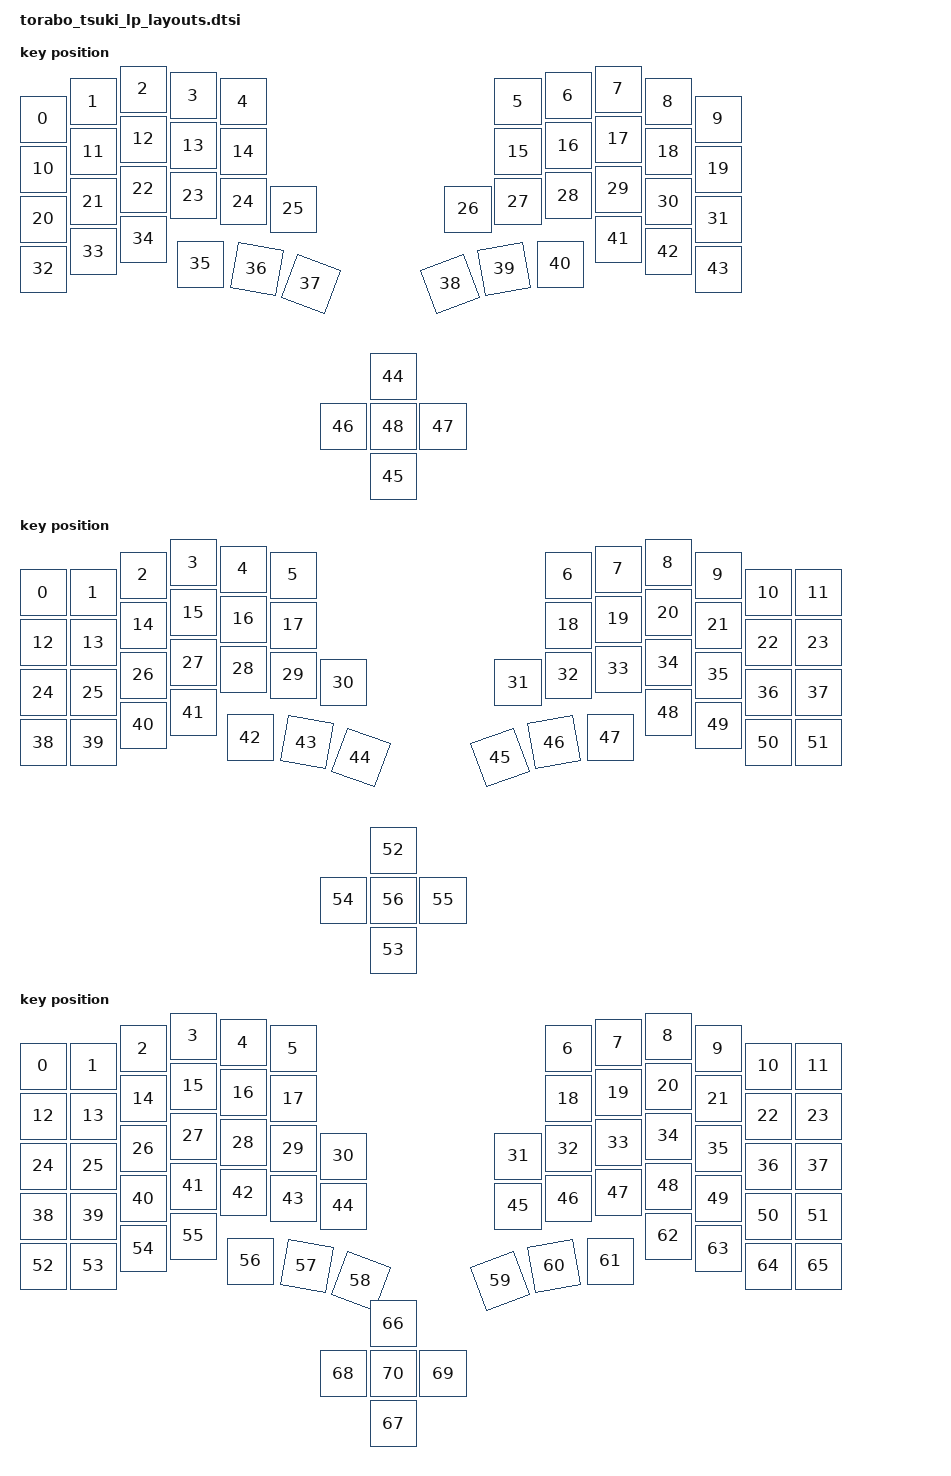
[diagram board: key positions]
#include <physical_layouts.dtsi>

/ {
    physical_layout_s: physical_layout_0 {
        keys  //                     w   h    x    y     rot    rx    ry
            = <&key_physical_attrs 100 100    0   60       0     0     0>
            , <&key_physical_attrs 100 100  100   25       0     0     0>
            , <&key_physical_attrs 100 100  200    0       0     0     0>
            , <&key_physical_attrs 100 100  300   13       0     0     0>
            , <&key_physical_attrs 100 100  400   25       0     0     0>
            , <&key_physical_attrs 100 100  950   25       0     0     0>
            , <&key_physical_attrs 100 100 1050   13       0     0     0>
            , <&key_physical_attrs 100 100 1150    0       0     0     0>
            , <&key_physical_attrs 100 100 1250   25       0     0     0>
            , <&key_physical_attrs 100 100 1350   60       0     0     0>
            , <&key_physical_attrs 100 100    0  160       0     0     0>
            , <&key_physical_attrs 100 100  100  125       0     0     0>
            , <&key_physical_attrs 100 100  200  100       0     0     0>
            , <&key_physical_attrs 100 100  300  113       0     0     0>
            , <&key_physical_attrs 100 100  400  125       0     0     0>
            , <&key_physical_attrs 100 100  950  125       0     0     0>
            , <&key_physical_attrs 100 100 1050  113       0     0     0>
            , <&key_physical_attrs 100 100 1150  100       0     0     0>
            , <&key_physical_attrs 100 100 1250  125       0     0     0>
            , <&key_physical_attrs 100 100 1350  160       0     0     0>
            , <&key_physical_attrs 100 100    0  260       0     0     0>
            , <&key_physical_attrs 100 100  100  225       0     0     0>
            , <&key_physical_attrs 100 100  200  200       0     0     0>
            , <&key_physical_attrs 100 100  300  213       0     0     0>
            , <&key_physical_attrs 100 100  400  225       0     0     0>
            , <&key_physical_attrs 100 100  500  240       0     0     0>
            , <&key_physical_attrs 100 100  850  240       0     0     0>
            , <&key_physical_attrs 100 100  950  225       0     0     0>
            , <&key_physical_attrs 100 100 1050  213       0     0     0>
            , <&key_physical_attrs 100 100 1150  200       0     0     0>
            , <&key_physical_attrs 100 100 1250  225       0     0     0>
            , <&key_physical_attrs 100 100 1350  260       0     0     0>
            , <&key_physical_attrs 100 100    0  360       0     0     0>
            , <&key_physical_attrs 100 100  100  325       0     0     0>
            , <&key_physical_attrs 100 100  200  300       0     0     0>
            , <&key_physical_attrs 100 100  315  350       0     0     0>
            , <&key_physical_attrs 100 100  420  350    1000   420   450>
            , <&key_physical_attrs 100 100  522  371    2000   525   470>
            , <&key_physical_attrs 100 100  828  371 (-2000)   925   470>
            , <&key_physical_attrs 100 100  930  350 (-1000)  1030   450>
            , <&key_physical_attrs 100 100 1035  350       0     0     0>
            , <&key_physical_attrs 100 100 1150  300       0     0     0>
            , <&key_physical_attrs 100 100 1250  325       0     0     0>
            , <&key_physical_attrs 100 100 1350  360       0     0     0>
#if defined(TORABO_TSUKI_LP_KSCAN_4_DIRECTION_SWITCH)
            , <&key_physical_attrs 100 100  700  575       0     0     0>
            , <&key_physical_attrs 100 100  700  775       0     0     0>
            , <&key_physical_attrs 100 100  600  675       0     0     0>
            , <&key_physical_attrs 100 100  800  675       0     0     0>
            , <&key_physical_attrs 100 100  700  675       0     0     0>
#elif defined(TORABO_TSUKI_LP_INPUT_HIRES_DIAL)
            , <&key_physical_attrs 100 100  700  675       0     0     0>
#endif
            ;
    };

    physical_layout_m: physical_layout_1 {
        keys  //                     w   h    x    y     rot    rx    ry
            = <&key_physical_attrs 100 100    0   60       0     0     0>
            , <&key_physical_attrs 100 100  100   60       0     0     0>
            , <&key_physical_attrs 100 100  200   25       0     0     0>
            , <&key_physical_attrs 100 100  300    0       0     0     0>
            , <&key_physical_attrs 100 100  400   13       0     0     0>
            , <&key_physical_attrs 100 100  500   25       0     0     0>
            , <&key_physical_attrs 100 100 1050   25       0     0     0>
            , <&key_physical_attrs 100 100 1150   13       0     0     0>
            , <&key_physical_attrs 100 100 1250    0       0     0     0>
            , <&key_physical_attrs 100 100 1350   25       0     0     0>
            , <&key_physical_attrs 100 100 1450   60       0     0     0>
            , <&key_physical_attrs 100 100 1550   60       0     0     0>
            , <&key_physical_attrs 100 100    0  160       0     0     0>
            , <&key_physical_attrs 100 100  100  160       0     0     0>
            , <&key_physical_attrs 100 100  200  125       0     0     0>
            , <&key_physical_attrs 100 100  300  100       0     0     0>
            , <&key_physical_attrs 100 100  400  113       0     0     0>
            , <&key_physical_attrs 100 100  500  125       0     0     0>
            , <&key_physical_attrs 100 100 1050  125       0     0     0>
            , <&key_physical_attrs 100 100 1150  113       0     0     0>
            , <&key_physical_attrs 100 100 1250  100       0     0     0>
            , <&key_physical_attrs 100 100 1350  125       0     0     0>
            , <&key_physical_attrs 100 100 1450  160       0     0     0>
            , <&key_physical_attrs 100 100 1550  160       0     0     0>
            , <&key_physical_attrs 100 100    0  260       0     0     0>
            , <&key_physical_attrs 100 100  100  260       0     0     0>
            , <&key_physical_attrs 100 100  200  225       0     0     0>
            , <&key_physical_attrs 100 100  300  200       0     0     0>
            , <&key_physical_attrs 100 100  400  213       0     0     0>
            , <&key_physical_attrs 100 100  500  225       0     0     0>
            , <&key_physical_attrs 100 100  600  240       0     0     0>
            , <&key_physical_attrs 100 100  950  240       0     0     0>
            , <&key_physical_attrs 100 100 1050  225       0     0     0>
            , <&key_physical_attrs 100 100 1150  213       0     0     0>
            , <&key_physical_attrs 100 100 1250  200       0     0     0>
            , <&key_physical_attrs 100 100 1350  225       0     0     0>
            , <&key_physical_attrs 100 100 1450  260       0     0     0>
            , <&key_physical_attrs 100 100 1550  260       0     0     0>
            , <&key_physical_attrs 100 100    0  360       0     0     0>
            , <&key_physical_attrs 100 100  100  360       0     0     0>
            , <&key_physical_attrs 100 100  200  325       0     0     0>
            , <&key_physical_attrs 100 100  300  300       0     0     0>
            , <&key_physical_attrs 100 100  415  350       0     0     0>
            , <&key_physical_attrs 100 100  520  350    1000   520   450>
            , <&key_physical_attrs 100 100  622  371    2000   625   470>
            , <&key_physical_attrs 100 100  928  371 (-2000)  1025   470>
            , <&key_physical_attrs 100 100 1030  350 (-1000)  1130   450>
            , <&key_physical_attrs 100 100 1135  350       0     0     0>
            , <&key_physical_attrs 100 100 1250  300       0     0     0>
            , <&key_physical_attrs 100 100 1350  325       0     0     0>
            , <&key_physical_attrs 100 100 1450  360       0     0     0>
            , <&key_physical_attrs 100 100 1550  360       0     0     0>
#if defined(TORABO_TSUKI_LP_KSCAN_4_DIRECTION_SWITCH)
            , <&key_physical_attrs 100 100  700  575       0     0     0>
            , <&key_physical_attrs 100 100  700  775       0     0     0>
            , <&key_physical_attrs 100 100  600  675       0     0     0>
            , <&key_physical_attrs 100 100  800  675       0     0     0>
            , <&key_physical_attrs 100 100  700  675       0     0     0>
#elif defined(TORABO_TSUKI_LP_INPUT_HIRES_DIAL)
            , <&key_physical_attrs 100 100  700  675       0     0     0>
#endif
            ;
    };

    physical_layout_l: physical_layout_2 {
        keys  //                     w   h    x    y     rot    rx    ry
            = <&key_physical_attrs 100 100    0   60       0     0     0>
            , <&key_physical_attrs 100 100  100   60       0     0     0>
            , <&key_physical_attrs 100 100  200   25       0     0     0>
            , <&key_physical_attrs 100 100  300    0       0     0     0>
            , <&key_physical_attrs 100 100  400   13       0     0     0>
            , <&key_physical_attrs 100 100  500   25       0     0     0>
            , <&key_physical_attrs 100 100 1050   25       0     0     0>
            , <&key_physical_attrs 100 100 1150   13       0     0     0>
            , <&key_physical_attrs 100 100 1250    0       0     0     0>
            , <&key_physical_attrs 100 100 1350   25       0     0     0>
            , <&key_physical_attrs 100 100 1450   60       0     0     0>
            , <&key_physical_attrs 100 100 1550   60       0     0     0>
            , <&key_physical_attrs 100 100    0  160       0     0     0>
            , <&key_physical_attrs 100 100  100  160       0     0     0>
            , <&key_physical_attrs 100 100  200  125       0     0     0>
            , <&key_physical_attrs 100 100  300  100       0     0     0>
            , <&key_physical_attrs 100 100  400  113       0     0     0>
            , <&key_physical_attrs 100 100  500  125       0     0     0>
            , <&key_physical_attrs 100 100 1050  125       0     0     0>
            , <&key_physical_attrs 100 100 1150  113       0     0     0>
            , <&key_physical_attrs 100 100 1250  100       0     0     0>
            , <&key_physical_attrs 100 100 1350  125       0     0     0>
            , <&key_physical_attrs 100 100 1450  160       0     0     0>
            , <&key_physical_attrs 100 100 1550  160       0     0     0>
            , <&key_physical_attrs 100 100    0  260       0     0     0>
            , <&key_physical_attrs 100 100  100  260       0     0     0>
            , <&key_physical_attrs 100 100  200  225       0     0     0>
            , <&key_physical_attrs 100 100  300  200       0     0     0>
            , <&key_physical_attrs 100 100  400  213       0     0     0>
            , <&key_physical_attrs 100 100  500  225       0     0     0>
            , <&key_physical_attrs 100 100  600  240       0     0     0>
            , <&key_physical_attrs 100 100  950  240       0     0     0>
            , <&key_physical_attrs 100 100 1050  225       0     0     0>
            , <&key_physical_attrs 100 100 1150  213       0     0     0>
            , <&key_physical_attrs 100 100 1250  200       0     0     0>
            , <&key_physical_attrs 100 100 1350  225       0     0     0>
            , <&key_physical_attrs 100 100 1450  260       0     0     0>
            , <&key_physical_attrs 100 100 1550  260       0     0     0>
            , <&key_physical_attrs 100 100    0  360       0     0     0>
            , <&key_physical_attrs 100 100  100  360       0     0     0>
            , <&key_physical_attrs 100 100  200  325       0     0     0>
            , <&key_physical_attrs 100 100  300  300       0     0     0>
            , <&key_physical_attrs 100 100  400  313       0     0     0>
            , <&key_physical_attrs 100 100  500  325       0     0     0>
            , <&key_physical_attrs 100 100  600  340       0     0     0>
            , <&key_physical_attrs 100 100  950  340       0     0     0>
            , <&key_physical_attrs 100 100 1050  325       0     0     0>
            , <&key_physical_attrs 100 100 1150  313       0     0     0>
            , <&key_physical_attrs 100 100 1250  300       0     0     0>
            , <&key_physical_attrs 100 100 1350  325       0     0     0>
            , <&key_physical_attrs 100 100 1450  360       0     0     0>
            , <&key_physical_attrs 100 100 1550  360       0     0     0>
            , <&key_physical_attrs 100 100    0  460       0     0     0>
            , <&key_physical_attrs 100 100  100  460       0     0     0>
            , <&key_physical_attrs 100 100  200  425       0     0     0>
            , <&key_physical_attrs 100 100  300  400       0     0     0>
            , <&key_physical_attrs 100 100  415  450       0     0     0>
            , <&key_physical_attrs 100 100  520  450    1000   520   550>
            , <&key_physical_attrs 100 100  622  471    2000   625   570>
            , <&key_physical_attrs 100 100  928  471 (-2000)  1025   570>
            , <&key_physical_attrs 100 100 1030  450 (-1000)  1130   550>
            , <&key_physical_attrs 100 100 1135  450       0     0     0>
            , <&key_physical_attrs 100 100 1250  400       0     0     0>
            , <&key_physical_attrs 100 100 1350  425       0     0     0>
            , <&key_physical_attrs 100 100 1450  460       0     0     0>
            , <&key_physical_attrs 100 100 1550  460       0     0     0>
#if defined(TORABO_TSUKI_LP_KSCAN_4_DIRECTION_SWITCH)
            , <&key_physical_attrs 100 100  700  575       0     0     0>
            , <&key_physical_attrs 100 100  700  775       0     0     0>
            , <&key_physical_attrs 100 100  600  675       0     0     0>
            , <&key_physical_attrs 100 100  800  675       0     0     0>
            , <&key_physical_attrs 100 100  700  675       0     0     0>
#elif defined(TORABO_TSUKI_LP_INPUT_HIRES_DIAL)
            , <&key_physical_attrs 100 100  700  675       0     0     0>
#endif
            ;
    };

    position_map_1 {
        compatible = "zmk,physical-layout-position-map";
        complete;
        position_map_s_1 {
            physical-layout = <&physical_layout_s>;
            positions = <
#if defined(TORABO_TSUKI_LP_KSCAN_4_DIRECTION_SWITCH)
                49 50 51 52 53 54       55 56 57 58 59 60
                61 0  1  2  3  4        5  6  7  8  9  62
                63 10 11 12 13 14 69 70 15 16 17 18 19 64
                65 20 21 22 23 24 25 26 27 28 29 30 31 66
                67 32 33 34 35 36 37 38 39 40 41 42 43 68
                44 45 46 47 48
#elif defined(TORABO_TSUKI_LP_INPUT_HIRES_DIAL)
                45 46 47 48 49 50       51 52 53 54 55 56
                57 0  1  2  3  4        5  6  7  8  9  58
                59 10 11 12 13 14 65 66 15 16 17 18 19 60
                61 20 21 22 23 24 25 26 27 28 29 30 31 62
                63 32 33 34 35 36 37 38 39 40 41 42 43 64
                44
#else
                44 45 46 47 48 49       50 51 52 53 54 55
                56 0  1  2  3  4        5  6  7  8  9  57
                58 10 11 12 13 14 64 65 15 16 17 18 19 59
                60 20 21 22 23 24 25 26 27 28 29 30 31 61
                62 32 33 34 35 36 37 38 39 40 41 42 43 63
#endif
            >;
        };
        position_map_m_1 {
            physical-layout = <&physical_layout_m>;
            positions = <
#if defined(TORABO_TSUKI_LP_KSCAN_4_DIRECTION_SWITCH)
                57 58 59 60 61 62       63 64 65 66 67 68
                0  1  2  3  4  5        6  7  8  9  10 11
                12 13 14 15 16 17 69 70 18 19 20 21 22 23
                24 25 26 27 28 29 30 31 32 33 34 35 36 37
                38 39 40 41 42 43 44 45 46 47 48 49 50 51
                52 53 54 55 56
#elif defined(TORABO_TSUKI_LP_INPUT_HIRES_DIAL)
                53 54 55 56 57 58       59 60 61 62 63 64
                0  1  2  3  4  5        6  7  8  9  10 11
                12 13 14 15 16 17 65 66 18 19 20 21 22 23
                24 25 26 27 28 29 30 31 32 33 34 35 36 37
                38 39 40 41 42 43 44 45 46 47 48 49 50 51
                52
#else
                52 53 54 55 56 57       58 59 60 61 62 63
                0  1  2  3  4  5        6  7  8  9  10 11 
                12 13 14 15 16 17 64 65 18 19 20 21 22 23
                24 25 26 27 28 29 30 31 32 33 34 35 36 37
                38 39 40 41 42 43 44 45 46 47 48 49 50 51
#endif
            >;
        };
        position_map_l_1 {
            physical-layout = <&physical_layout_l>;
            positions = <
#if defined(TORABO_TSUKI_LP_KSCAN_4_DIRECTION_SWITCH)
                0  1  2  3  4  5        6  7  8  9  10 11
                12 13 14 15 16 17       18 19 20 21 22 23
                24 25 26 27 28 29 30 31 32 33 34 35 36 37
                38 39 40 41 42 43 44 45 46 47 48 49 50 51
                52 53 54 55 56 57 58 59 60 61 62 63 64 65
                66 67 68 69 70
#elif defined(TORABO_TSUKI_LP_INPUT_HIRES_DIAL)
                0  1  2  3  4  5        6  7  8  9  10 11
                12 13 14 15 16 17       18 19 20 21 22 23
                24 25 26 27 28 29 30 31 32 33 34 35 36 37
                38 39 40 41 42 43 44 45 46 47 48 49 50 51
                52 53 54 55 56 57 58 59 60 61 62 63 64 65
                66
#else
                0  1  2  3  4  5        6  7  8  9  10 11
                12 13 14 15 16 17       18 19 20 21 22 23
                24 25 26 27 28 29 30 31 32 33 34 35 36 37
                38 39 40 41 42 43 44 45 46 47 48 49 50 51
                52 53 54 55 56 57 58 59 60 61 62 63 64 65
#endif
            >;
        };
    };
};
